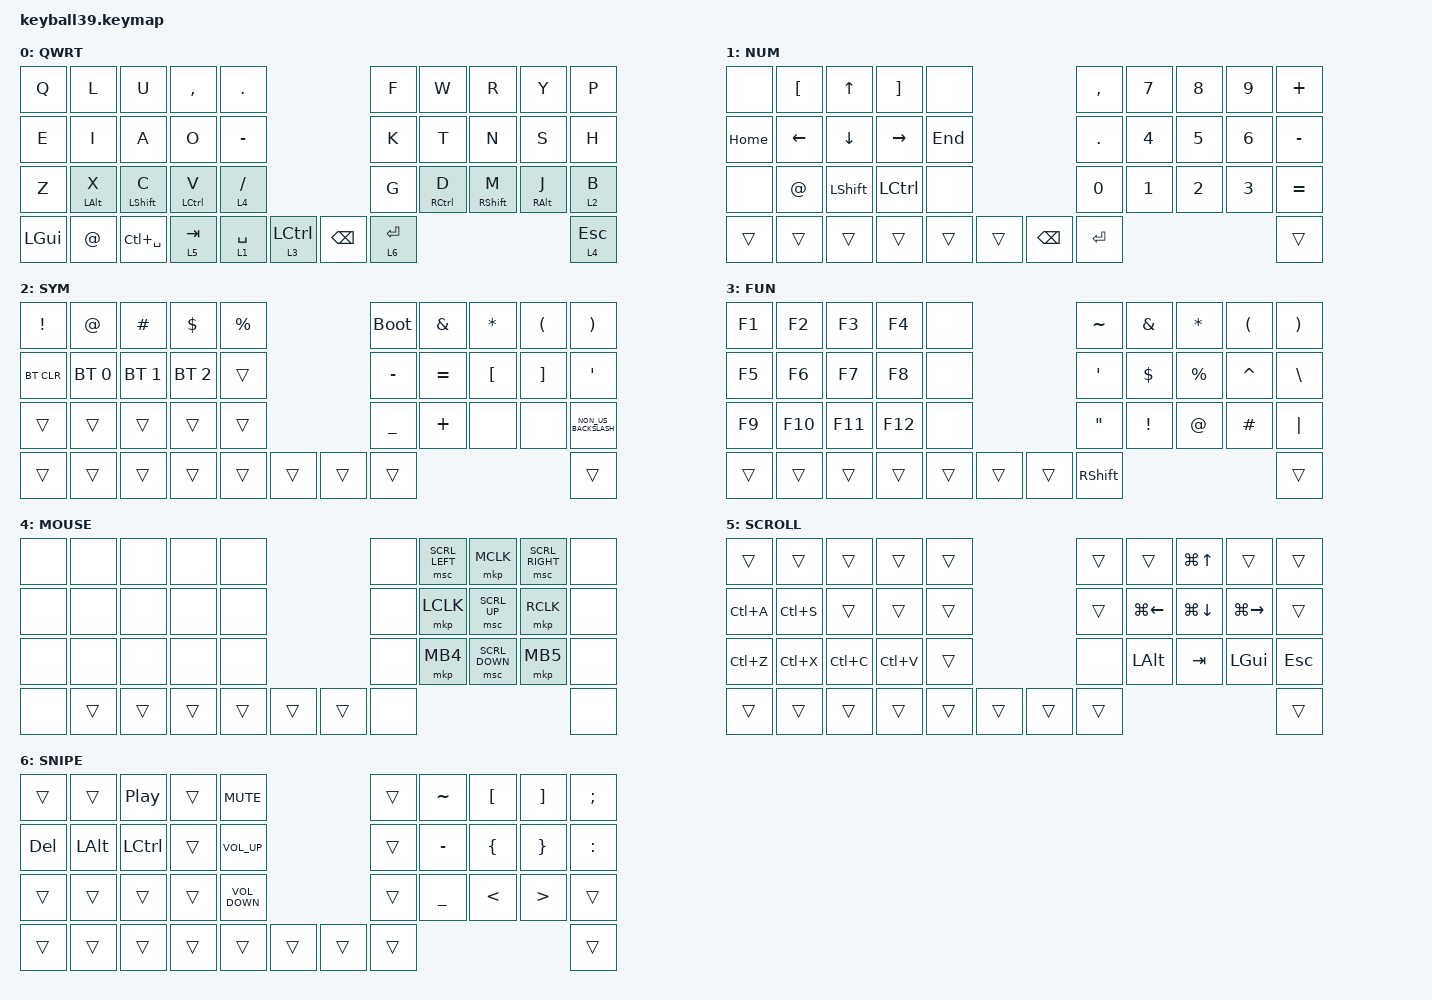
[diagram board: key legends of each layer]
#define DEFAULT 0
#define NUM     1
#define SYM     2
#define FUN     3
#define MOUSE   4
#define SCROLL  5
#define SNIPE   6

#include <behaviors/mouse_keys.dtsi>
#include <dt-bindings/zmk/mouse.h>
#include <behaviors.dtsi>
#include <dt-bindings/zmk/bt.h>
#include <dt-bindings/zmk/keys.h>
#include <dt-bindings/zmk/pointing.h>

&lt {
    tapping-term-ms = <240>;
    flavor = "balanced";
    quick-tap-ms = <150>;
};

&mt {
    tapping-term-ms = <200>;
    flavor = "tap-preferred";
    quick-tap-ms = <150>;
};

&caps_word { continue-list = <UNDERSCORE MINUS>; };

/ {
    // custom shift using mod-morph 

    behaviors {
        cmqus: comma_question {
            compatible = "zmk,behavior-mod-morph";
            label = "COMMA_QUESTION";
            #binding-cells = <0>;
            bindings = <&kp COMMA>, <&kp QUESTION>;

            mods = <(MOD_LSFT|MOD_RSFT)>;
        };

        dtsmi: dot_semi {
            compatible = "zmk,behavior-mod-morph";
            label = "DOT_SEMI";
            #binding-cells = <0>;
            bindings = <&kp DOT>, <&kp SEMI>;

            mods = <(MOD_LSFT|MOD_RSFT)>;
        };
    };

    macros {
        Hiragana: Hiragana {
            compatible = "zmk,behavior-macro";
            #binding-cells = <0>;
            bindings = <&kp LC(SPACE)>;
            label = "HIRAGANA";
        };
    };

    combos {
        compatible = "zmk,combos";

        m1 {
            bindings = <&mkp MB1>;
            key-positions = <17 16>;
            layers = <4 0>;
        };

        mb2 {
            bindings = <&mkp MB2>;
            key-positions = <17 18>;
            layers = <0 4>;
        };

        vertical {
            bindings = <&msc MOVE_Y(20)>;
            key-positions = <7 16>;
            layers = <0 4>;
        };

        vertical2 {
            bindings = <&msc MOVE_Y(-20)>;
            key-positions = <17 26>;
            layers = <0 4>;
        };

        bs {
            bindings = <&kp BACKSPACE>;
            key-positions = <11 12>;
            layers = <0>;
        };

        de {
            bindings = <&kp DELETE>;
            key-positions = <12 13>;
            layers = <0>;
        };

        m3 {
            bindings = <&mkp MB4>;
            key-positions = <26 27>;
            layers = <0 4>;
        };

        m4 {
            bindings = <&mkp MB5>;
            key-positions = <27 28>;
            layers = <0 4>;
        };

        pu {
            bindings = <&kp PAGE_UP>;
            key-positions = <15 6>;
            layers = <0 4>;
        };

        pd {
            bindings = <&kp PAGE_DOWN>;
            key-positions = <16 25>;
            layers = <0 4>;
        };

        lang {
            bindings = <&kp INTERNATIONAL_2>;
            key-positions = <2 3>;
            layers = <0>;
        };

        int {
            bindings = <&kp INT_MUHENKAN>;
            key-positions = <1 2>;
            layers = <0>;
        };
    };

    keymap {
        compatible = "zmk,keymap";

        default_layer {
            label = "QWRT";
            bindings = <
&kp Q         &kp L           &kp U             &kp COMMA           &kp PERIOD                                      &kp F        &kp W                &kp R              &kp Y            &kp P
&kp E         &kp I           &kp A             &kp O               &kp MINUS                                       &kp K        &kp T                &kp N              &kp S            &kp H
&kp Z         &mt LEFT_ALT X  &mt LEFT_SHIFT C  &mt LEFT_CONTROL V  &lt 4 SLASH                                     &kp G        &mt RIGHT_CONTROL D  &mt RIGHT_SHIFT M  &mt RIGHT_ALT J  &lt 2 B
&kp LEFT_GUI  &kp AT          &kp LC(SPACE)     &lt 5 TAB           &lt 1 SPACE  &lt 3 LEFT_CONTROL  &kp BACKSPACE  &lt 6 ENTER                                                           &lt 4 ESCAPE
            >;
        };

        number_layer {
            label = "NUM";
            bindings = <
&none     &kp LEFT_BRACKET  &kp UP_ARROW    &kp RIGHT_BRACKET  &none                           &kp COMMA     &kp NUMBER_7  &kp NUMBER_8  &kp NUMBER_9  &kp PLUS
&kp HOME  &kp LEFT_ARROW    &kp DOWN_ARROW  &kp RIGHT          &kp END                         &kp DOT       &kp NUMBER_4  &kp NUMBER_5  &kp NUMBER_6  &kp MINUS
&none     &kp AT            &kp LEFT_SHIFT  &kp LEFT_CONTROL   &none                           &kp NUMBER_0  &kp NUMBER_1  &kp NUMBER_2  &kp NUMBER_3  &kp EQUAL
&trans    &trans            &trans          &trans             &trans   &trans  &kp BACKSPACE  &kp RETURN                                              &trans
            >;
        };

        symbol_layer {
            label = "SYM";
            bindings = <
&kp EXCLAMATION  &kp AT_SIGN   &kp HASH      &kp DOLLAR    &kp PERCENT                  &bootloader     &kp AMPERSAND  &kp ASTERISK      &kp LEFT_PARENTHESIS  &kp RIGHT_PARENTHESIS
&bt BT_CLR       &bt BT_SEL 0  &bt BT_SEL 1  &bt BT_SEL 2  &trans                       &kp MINUS       &kp EQUAL      &kp LEFT_BRACKET  &kp RIGHT_BRACKET     &kp SQT
&trans           &trans        &trans        &trans        &trans                       &kp UNDERSCORE  &kp PLUS       &none             &none                 &kp NON_US_BACKSLASH
&trans           &trans        &trans        &trans        &trans       &trans  &trans  &trans                                                                 &trans
            >;
        };

        function_layer {
            label = "FUN";
            bindings = <
&kp F1  &kp F2   &kp F3   &kp F4   &none                   &kp TILDE          &kp AMPS  &kp STAR   &kp LPAR   &kp RPAR
&kp F5  &kp F6   &kp F7   &kp F8   &none                   &kp SINGLE_QUOTE   &kp DLLR  &kp PRCNT  &kp CARET  &kp BACKSLASH
&kp F9  &kp F10  &kp F11  &kp F12  &none                   &kp DOUBLE_QUOTES  &kp EXCL  &kp AT     &kp POUND  &kp PIPE
&trans  &trans   &trans   &trans   &trans  &trans  &trans  &kp RIGHT_SHIFT                                    &trans
            >;
        };

        mouse_layer {
            label = "MOUSE";
            bindings = <
&none  &none   &none   &none   &none                   &none  &msc SCRL_LEFT  &mkp MCLK       &msc SCRL_RIGHT  &none
&none  &none   &none   &none   &none                   &none  &mkp LCLK       &msc SCRL_UP    &mkp RCLK        &none
&none  &none   &none   &none   &none                   &none  &mkp MB4        &msc SCRL_DOWN  &mkp MB5         &none
&none  &trans  &trans  &trans  &trans  &trans  &trans  &none                                                   &none
            >;
        };

        scroll_layer {
            label = "SCROLL";
            bindings = <
&trans     &trans     &trans     &trans     &trans                  &trans  &trans              &kp LG(UP_ARROW)    &trans               &trans
&kp LC(A)  &kp LC(S)  &trans     &trans     &trans                  &trans  &kp LG(LEFT_ARROW)  &kp LG(DOWN_ARROW)  &kp LG(RIGHT_ARROW)  &trans
&kp LC(Z)  &kp LC(X)  &kp LC(C)  &kp LC(V)  &trans                  &none   &kp LEFT_ALT        &kp TAB             &kp LEFT_GUI         &kp ESCAPE
&trans     &trans     &trans     &trans     &trans  &trans  &trans  &trans                                                               &trans
            >;
        };

        snipe_layer {
            label = "SNIPE";
            bindings = <
&trans      &trans        &kp C_PLAY_PAUSE  &trans  &kp C_MUTE                         &trans  &kp TILDE       &kp LEFT_BRACKET  &kp RIGHT_BRACKET  &kp SEMICOLON
&kp DELETE  &kp LEFT_ALT  &kp LEFT_CONTROL  &trans  &kp C_VOLUME_UP                    &trans  &kp MINUS       &kp LEFT_BRACE    &kp RIGHT_BRACE    &kp COLON
&trans      &trans        &trans            &trans  &kp C_VOLUME_DOWN                  &trans  &kp UNDERSCORE  &kp LESS_THAN     &kp GREATER_THAN   &trans
&trans      &trans        &trans            &trans  &trans             &trans  &trans  &trans                                                       &trans
            >;
        };
    };
};
